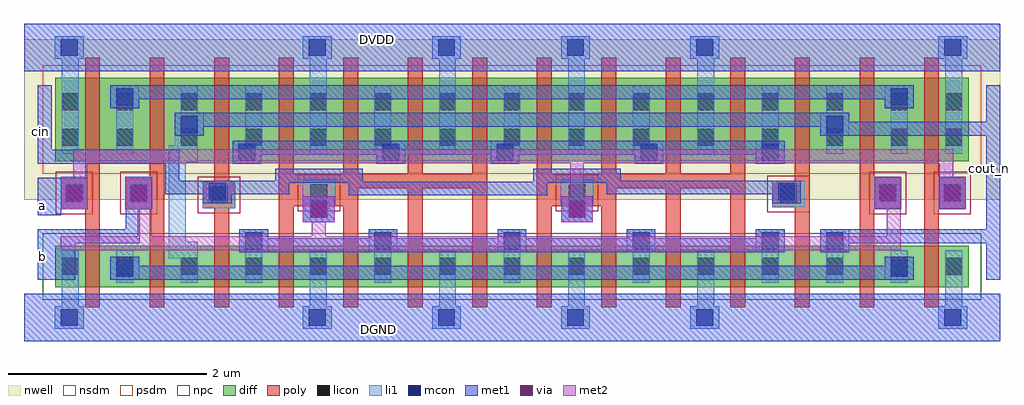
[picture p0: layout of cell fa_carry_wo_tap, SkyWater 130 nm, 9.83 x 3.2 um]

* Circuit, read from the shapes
.subckt fa_carry_wo_tap DGND DVDD a b cin cout_n
XM1 n1 a DGND VSUBS sky130_fd_pr__nfet_01v8 w=0.42 l=0.15 m=2
XM2 cout_n b n1 VSUBS sky130_fd_pr__nfet_01v8 w=0.42 l=0.15 m=2
XM3 n2 cin cout_n VSUBS sky130_fd_pr__nfet_01v8 w=0.42 l=0.15 m=2
XM4 DGND b n2 VSUBS sky130_fd_pr__nfet_01v8 w=0.42 l=0.15 m=4
XM5 DGND a n2 VSUBS sky130_fd_pr__nfet_01v8 w=0.42 l=0.15 m=4
XM6 n3 a DVDD n4 sky130_fd_pr__pfet_01v8 w=0.84 l=0.15 m=2
XM7 cout_n b n3 n4 sky130_fd_pr__pfet_01v8 w=0.84 l=0.15 m=2
XM8 n5 cin cout_n n4 sky130_fd_pr__pfet_01v8 w=0.84 l=0.15 m=2
XM9 DVDD b n5 n4 sky130_fd_pr__pfet_01v8 w=0.84 l=0.15 m=4
XM10 DVDD a n5 n4 sky130_fd_pr__pfet_01v8 w=0.84 l=0.15 m=4
.ends

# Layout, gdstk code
from math import pi, radians
import gdstk
lib = gdstk.Library(unit=1e-6, precision=1e-09)
def R(c, l, rs):  # rectangles x0, y0, x1, y1
    for r in rs: c.add(gdstk.rectangle(r[:2], r[2:], *l))
def A(c, l, x, y, w, h, nx, ny, dx, dy):  # array of equal rectangles
    R(c, l, [(x+i*dx, y+j*dy, x+i*dx+w, y+j*dy+h) for i in range(nx) for j in range(ny)])
nwell = (64, 20)
diff = (65, 20)
poly = (66, 20)
licon = (66, 44)
li1 = (67, 20)
mcon = (67, 44)
met1 = (68, 20)
via = (68, 44)
met2 = (69, 20)
nsdm = (93, 44)
psdm = (94, 20)
npc = (95, 20)

pfet_1 = lib.new_cell('pfet$1')
R(pfet_1, nwell, [(-0.315,-0.39,9.515,1.23)])
R(pfet_1, diff, [(0,0,9.2,0.84)])
A(pfet_1, poly, 0.3, -0.2, 0.15, 1.24, 14, 1, 0.65, 0)
A(pfet_1, licon, 0.615, 0.155, 0.17, 0.17, 13, 2, 0.65, 0.36)
R(pfet_1, licon, [(0.065,0.155,0.235,0.325), (8.965,0.155,9.135,0.325), (0.065,0.515,0.235,0.685), (8.965,0.515,9.135,0.685)])
A(pfet_1, li1, 0.615, 0.075, 0.17, 0.69, 13, 1, 0.65, 0)
R(pfet_1, li1, [(0.065,0.075,0.235,0.765), (8.965,0.075,9.135,0.765)])
R(pfet_1, psdm, [(-0.125,-0.125,9.325,0.965)])

nfet_1 = lib.new_cell('nfet$1')
R(nfet_1, diff, [(0,0,9.2,0.42)])
A(nfet_1, poly, 0.3, -0.2, 0.15, 0.82, 14, 1, 0.65, 0)
A(nfet_1, licon, 0.615, 0.125, 0.17, 0.17, 13, 1, 0.65, 0)
R(nfet_1, licon, [(0.065,0.125,0.235,0.295), (8.965,0.125,9.135,0.295)])
A(nfet_1, li1, 0.615, 0.045, 0.17, 0.33, 13, 1, 0.65, 0)
R(nfet_1, li1, [(0.065,0.045,0.235,0.375), (8.965,0.045,9.135,0.375)])
R(nfet_1, nsdm, [(-0.125,-0.125,9.325,0.545)])

vias_gen_1 = lib.new_cell('vias_gen$1')
R(vias_gen_1, li1, [(0,0,0.29,0.23)])
R(vias_gen_1, mcon, [(0.06,0.03,0.23,0.2)])
R(vias_gen_1, met1, [(0,0,0.29,0.23)])

vias_gen_3 = lib.new_cell('vias_gen$3')
R(vias_gen_3, poly, [(0,0,0.33,0.27)])
R(vias_gen_3, licon, [(0.08,0.05,0.25,0.22)])
R(vias_gen_3, li1, [(0,0,0.33,0.27)])
R(vias_gen_3, npc, [(-0.05,-0.05,0.38,0.32)])

vias_gen_2 = lib.new_cell('vias_gen$2')
R(vias_gen_2, li1, [(0,0,0.29,0.23)])
R(vias_gen_2, mcon, [(0.06,0.03,0.23,0.2)])
R(vias_gen_2, met1, [(0,0,0.29,0.23)])

vias_gen_4 = lib.new_cell('vias_gen$4')
R(vias_gen_4, li1, [(0,0,0.32,0.26)])
R(vias_gen_4, mcon, [(0.075,0.045,0.245,0.215)])
R(vias_gen_4, met1, [(0,0,0.32,0.26)])
R(vias_gen_4, via, [(0.085,0.055,0.235,0.205)])
R(vias_gen_4, met2, [(0,0,0.32,0.26)])

fa_carry_wo_tap = lib.new_cell('fa_carry_wo_tap')
R(fa_carry_wo_tap, poly, [(-6,0.495,-5.91,0.675), (-5.58,0.495,-5.5,0.675), (-3.4,0.495,-3.31,0.675), (-2.98,0.495,-2.9,0.675)])
R(fa_carry_wo_tap, li1, [(-7.255,-0.03,-6.965,0.14), (-7.255,0.94,-6.965,1.11), (-7.195,1.11,-7.135,1.205)])
R(fa_carry_wo_tap, met1, [(-8.715,-0.865,1.115,-0.385), (-8.575,-0.105,-8.34,0.265), (-8.575,0.405,-8.34,0.785), (-8.715,1.855,1.115,2.335)])
fa_carry_wo_tap.add(gdstk.FlexPath([(-4.45,1.715),(-4.45,1.98)], 0.17, ends="flush", simple_path=True, layer=67, datatype=20))  # li1
fa_carry_wo_tap.add(gdstk.FlexPath([(-5.75,1.715),(-5.75,1.98)], 0.17, ends="flush", simple_path=True, layer=67, datatype=20))  # li1
fa_carry_wo_tap.add(gdstk.FlexPath([(0.65,1.715),(0.65,1.98)], 0.17, ends="flush", simple_path=True, layer=67, datatype=20))  # li1
fa_carry_wo_tap.add(gdstk.FlexPath([(-8.25,1.715),(-8.25,1.98)], 0.17, ends="flush", simple_path=True, layer=67, datatype=20))  # li1
fa_carry_wo_tap.add(gdstk.FlexPath([(-3.15,1.715),(-3.15,1.98)], 0.17, ends="flush", simple_path=True, layer=67, datatype=20))  # li1
fa_carry_wo_tap.add(gdstk.FlexPath([(-1.85,1.715),(-1.85,1.98)], 0.17, ends="flush", simple_path=True, layer=67, datatype=20))  # li1
fa_carry_wo_tap.add(gdstk.FlexPath([(-4.45,-0.275),(-4.45,-0.51)], 0.17, ends="flush", simple_path=True, layer=67, datatype=20))  # li1
fa_carry_wo_tap.add(gdstk.FlexPath([(-5.75,-0.275),(-5.75,-0.51)], 0.17, ends="flush", simple_path=True, layer=67, datatype=20))  # li1
fa_carry_wo_tap.add(gdstk.FlexPath([(0.65,-0.275),(0.65,-0.51)], 0.17, ends="flush", simple_path=True, layer=67, datatype=20))  # li1
fa_carry_wo_tap.add(gdstk.FlexPath([(-8.25,-0.275),(-8.25,-0.51)], 0.17, ends="flush", simple_path=True, layer=67, datatype=20))  # li1
fa_carry_wo_tap.add(gdstk.FlexPath([(-3.15,-0.275),(-3.15,-0.51)], 0.17, ends="flush", simple_path=True, layer=67, datatype=20))  # li1
fa_carry_wo_tap.add(gdstk.FlexPath([(-1.85,-0.275),(-1.85,-0.51)], 0.17, ends="flush", simple_path=True, layer=67, datatype=20))  # li1
fa_carry_wo_tap.add(gdstk.FlexPath([(-7.17,0.055),(-7.17,1.025)], 0.17, ends="flush", simple_path=True, layer=67, datatype=20))  # li1
fa_carry_wo_tap.add(gdstk.FlexPath([(-1.18,0.685),(-2.775,0.685),(-2.775,0.805),(-3.515,0.805),(-3.515,0.675),(-5.375,0.675),(-5.375,0.805),(-6.115,0.805),(-6.115,0.685),(-6.625,0.685)], 0.14, ends="flush", simple_path=True, layer=68, datatype=20))  # met1
fa_carry_wo_tap.add(gdstk.FlexPath([(-6.915,0.685),(-7.22,0.685),(-7.22,0.995),(-8.505,0.995),(-8.505,1.715)], 0.14, ends="flush", simple_path=True, layer=68, datatype=20))  # met1
fa_carry_wo_tap.add(gdstk.FlexPath([(-7.62,0.465),(-7.62,0.195),(-8.27,0.195),(-8.27,-0.175),(-8.575,-0.175)], 0.14, ends="flush", simple_path=True, layer=68, datatype=20))  # met1
fa_carry_wo_tap.add(gdstk.FlexPath([(-1.345,1.085),(-6.325,1.085)], 0.14, ends="flush", simple_path=True, layer=68, datatype=20))  # met1
fa_carry_wo_tap.add(gdstk.FlexPath([(-0.045,1.645),(-7.555,1.645)], 0.14, ends="flush", simple_path=True, layer=68, datatype=20))  # met1
fa_carry_wo_tap.add(gdstk.FlexPath([(-0.695,1.365),(-6.905,1.365)], 0.14, ends="flush", simple_path=True, layer=68, datatype=20))  # met1
fa_carry_wo_tap.add(gdstk.FlexPath([(-0.045,-0.175),(-7.555,-0.175)], 0.14, ends="flush", simple_path=True, layer=68, datatype=20))  # met1
fa_carry_wo_tap.add(gdstk.FlexPath([(-1.345,0.105),(-6.255,0.105)], 0.14, ends="flush", simple_path=True, layer=68, datatype=20))  # met1
fa_carry_wo_tap.add(gdstk.FlexPath([(-0.405,0.195),(1.045,0.195),(1.045,1.715)], 0.14, ends="flush", simple_path=True, layer=68, datatype=20))  # met1
fa_carry_wo_tap.add(gdstk.FlexPath([(1.045,0.125),(1.045,-0.245)], 0.14, ends="flush", simple_path=True, layer=68, datatype=20))  # met1
fa_carry_wo_tap.add(gdstk.FlexPath([(-0.405,1.275),(0.975,1.275)], 0.14, ends="flush", simple_path=True, layer=68, datatype=20))  # met1
fa_carry_wo_tap.add(gdstk.FlexPath([(-8.22,1),(0.645,1)], 0.14, ends="flush", simple_path=True, layer=69, datatype=20))  # met2
fa_carry_wo_tap.add(gdstk.FlexPath([(-8.345,0.125),(0.115,0.125)], 0.14, ends="flush", simple_path=True, layer=69, datatype=20))  # met2
fa_carry_wo_tap.add(gdstk.FlexPath([(-8.15,0.785),(-8.15,0.93)], 0.14, ends="flush", simple_path=True, layer=69, datatype=20))  # met2
fa_carry_wo_tap.add(gdstk.FlexPath([(-3.145,0.595),(-3.145,0.93)], 0.14, ends="flush", simple_path=True, layer=69, datatype=20))  # met2
fa_carry_wo_tap.add(gdstk.FlexPath([(0.575,0.79),(0.575,0.93)], 0.14, ends="flush", simple_path=True, layer=69, datatype=20))  # met2
fa_carry_wo_tap.add(gdstk.FlexPath([(-7.5,0.465),(-7.5,0.195)], 0.14, ends="flush", simple_path=True, layer=69, datatype=20))  # met2
fa_carry_wo_tap.add(gdstk.FlexPath([(-5.745,0.335),(-5.745,0.195)], 0.14, ends="flush", simple_path=True, layer=69, datatype=20))  # met2
fa_carry_wo_tap.add(gdstk.FlexPath([(0.045,0.47),(0.045,0.195)], 0.14, ends="flush", simple_path=True, layer=69, datatype=20))  # met2
fa_carry_wo_tap.add(gdstk.FlexPath([(-6,0.75),(-4.2,0.75)], 0.15, ends="flush", simple_path=True, layer=66, datatype=20))  # poly
fa_carry_wo_tap.add(gdstk.FlexPath([(-3.4,0.75),(-1.6,0.75)], 0.15, ends="flush", simple_path=True, layer=66, datatype=20))  # poly
fa_carry_wo_tap.add(gdstk.FlexPath([(0.425,0.75),(0.425,0.3)], 0.15, ends="flush", simple_path=True, layer=66, datatype=20))  # poly
fa_carry_wo_tap.add(gdstk.FlexPath([(-0.225,0.75),(-0.225,0.3)], 0.15, ends="flush", simple_path=True, layer=66, datatype=20))  # poly
fa_carry_wo_tap.add(gdstk.FlexPath([(-0.875,0.75),(-0.875,0.3)], 0.15, ends="flush", simple_path=True, layer=66, datatype=20))  # poly
fa_carry_wo_tap.add(gdstk.FlexPath([(-1.525,0.75),(-1.525,0.3)], 0.15, ends="flush", simple_path=True, layer=66, datatype=20))  # poly
fa_carry_wo_tap.add(gdstk.FlexPath([(-2.175,0.75),(-2.175,0.3)], 0.15, ends="flush", simple_path=True, layer=66, datatype=20))  # poly
fa_carry_wo_tap.add(gdstk.FlexPath([(-2.825,0.75),(-2.825,0.3)], 0.15, ends="flush", simple_path=True, layer=66, datatype=20))  # poly
fa_carry_wo_tap.add(gdstk.FlexPath([(-3.475,0.75),(-3.475,0.3)], 0.15, ends="flush", simple_path=True, layer=66, datatype=20))  # poly
fa_carry_wo_tap.add(gdstk.FlexPath([(-4.125,0.75),(-4.125,0.3)], 0.15, ends="flush", simple_path=True, layer=66, datatype=20))  # poly
fa_carry_wo_tap.add(gdstk.FlexPath([(-4.775,0.75),(-4.775,0.3)], 0.15, ends="flush", simple_path=True, layer=66, datatype=20))  # poly
fa_carry_wo_tap.add(gdstk.FlexPath([(-5.425,0.75),(-5.425,0.3)], 0.15, ends="flush", simple_path=True, layer=66, datatype=20))  # poly
fa_carry_wo_tap.add(gdstk.FlexPath([(-6.075,0.75),(-6.075,0.3)], 0.15, ends="flush", simple_path=True, layer=66, datatype=20))  # poly
fa_carry_wo_tap.add(gdstk.FlexPath([(-6.725,0.75),(-6.725,0.3)], 0.15, ends="flush", simple_path=True, layer=66, datatype=20))  # poly
fa_carry_wo_tap.add(gdstk.FlexPath([(-7.375,0.75),(-7.375,0.3)], 0.15, ends="flush", simple_path=True, layer=66, datatype=20))  # poly
fa_carry_wo_tap.add(gdstk.FlexPath([(-8.025,0.75),(-8.025,0.3)], 0.15, ends="flush", simple_path=True, layer=66, datatype=20))  # poly
fa_carry_wo_tap.add(gdstk.FlexPath([(-8.025,0.75),(-8.025,0.3)], 0.15, ends="flush", simple_path=True, layer=66, datatype=20))  # poly
fa_carry_wo_tap.add(gdstk.Reference(pfet_1, (-8.4,0.95)))
fa_carry_wo_tap.add(gdstk.Reference(nfet_1, (-8.4,-0.32)))
fa_carry_wo_tap.add(gdstk.Reference(vias_gen_1, (-0.045,1.485)))
fa_carry_wo_tap.add(gdstk.Reference(vias_gen_1, (-7.845,1.485)))
fa_carry_wo_tap.add(gdstk.Reference(vias_gen_1, (-0.695,1.205)))
fa_carry_wo_tap.add(gdstk.Reference(vias_gen_1, (-7.195,1.205)))
fa_carry_wo_tap.add(gdstk.Reference(vias_gen_1, (-5.165,0.925)))
fa_carry_wo_tap.add(gdstk.Reference(vias_gen_1, (-4.015,0.925)))
fa_carry_wo_tap.add(gdstk.Reference(vias_gen_1, (-2.565,0.925)))
fa_carry_wo_tap.add(gdstk.Reference(vias_gen_1, (-1.345,0.925)))
fa_carry_wo_tap.add(gdstk.Reference(vias_gen_1, (-0.045,-0.245)))
fa_carry_wo_tap.add(gdstk.Reference(vias_gen_1, (-7.845,-0.245)))
fa_carry_wo_tap.add(gdstk.Reference(vias_gen_1, (-1.345,0.035)))
fa_carry_wo_tap.add(gdstk.Reference(vias_gen_1, (-5.245,0.035)))
fa_carry_wo_tap.add(gdstk.Reference(vias_gen_1, (-3.945,0.035)))
fa_carry_wo_tap.add(gdstk.Reference(vias_gen_1, (-2.645,0.035)))
fa_carry_wo_tap.add(gdstk.Reference(vias_gen_1, (-0.695,0.035)))
fa_carry_wo_tap.add(gdstk.Reference(vias_gen_3, (0.12,0.465), rotation=pi/2))
fa_carry_wo_tap.add(gdstk.Reference(vias_gen_3, (0.77,0.465), rotation=pi/2))
fa_carry_wo_tap.add(gdstk.Reference(vias_gen_3, (-1.18,0.485)))
fa_carry_wo_tap.add(gdstk.Reference(vias_gen_3, (-3.31,0.495)))
fa_carry_wo_tap.add(gdstk.Reference(vias_gen_3, (-5.91,0.495)))
fa_carry_wo_tap.add(gdstk.Reference(vias_gen_2, (-1.18,0.525)))
fa_carry_wo_tap.add(gdstk.Reference(vias_gen_3, (-8.075,0.465), rotation=pi/2))
fa_carry_wo_tap.add(gdstk.Reference(vias_gen_2, (-6.915,0.525)))
fa_carry_wo_tap.add(gdstk.Reference(vias_gen_3, (-6.915,0.475)))
fa_carry_wo_tap.add(gdstk.Reference(vias_gen_3, (-7.425,0.465), rotation=pi/2))
fa_carry_wo_tap.add(gdstk.Reference(vias_gen_1, (-6.545,0.035)))
fa_carry_wo_tap.add(gdstk.Reference(vias_gen_4, (-8.08,0.465), rotation=pi/2))
fa_carry_wo_tap.add(gdstk.Reference(vias_gen_4, (-7.43,0.465), rotation=pi/2))
fa_carry_wo_tap.add(gdstk.Reference(vias_gen_4, (-5.905,0.335)))
fa_carry_wo_tap.add(gdstk.Reference(vias_gen_1, (-6.615,0.925)))
fa_carry_wo_tap.add(gdstk.Reference(vias_gen_4, (-3.305,0.335)))
fa_carry_wo_tap.add(gdstk.Reference(vias_gen_4, (0.115,0.47), rotation=pi/2))
fa_carry_wo_tap.add(gdstk.Reference(vias_gen_4, (0.765,0.47), rotation=pi/2))
fa_carry_wo_tap.add(gdstk.Reference(vias_gen_2, (-2.005,1.98)))
fa_carry_wo_tap.add(gdstk.Reference(vias_gen_2, (-3.305,1.98)))
fa_carry_wo_tap.add(gdstk.Reference(vias_gen_2, (-8.405,1.98)))
fa_carry_wo_tap.add(gdstk.Reference(vias_gen_2, (0.495,1.98)))
fa_carry_wo_tap.add(gdstk.Reference(vias_gen_2, (-5.905,1.98)))
fa_carry_wo_tap.add(gdstk.Reference(vias_gen_2, (-4.605,1.98)))
fa_carry_wo_tap.add(gdstk.Reference(vias_gen_2, (-2.005,-0.51), x_reflection=True))
fa_carry_wo_tap.add(gdstk.Reference(vias_gen_2, (-3.305,-0.51), x_reflection=True))
fa_carry_wo_tap.add(gdstk.Reference(vias_gen_2, (-8.405,-0.51), x_reflection=True))
fa_carry_wo_tap.add(gdstk.Reference(vias_gen_2, (0.495,-0.51), x_reflection=True))
fa_carry_wo_tap.add(gdstk.Reference(vias_gen_2, (-5.905,-0.51), x_reflection=True))
fa_carry_wo_tap.add(gdstk.Reference(vias_gen_2, (-4.605,-0.51), x_reflection=True))
fa_carry_wo_tap.add(gdstk.Label('cin', (-8.55,1.25), layer=68, texttype=5))
fa_carry_wo_tap.add(gdstk.Label('a', (-8.525,0.5), layer=68, texttype=5))
fa_carry_wo_tap.add(gdstk.Label('b', (-8.525,-0.015), layer=68, texttype=5))
fa_carry_wo_tap.add(gdstk.Label('cout_n', (1.01,0.88), layer=68, texttype=5))
fa_carry_wo_tap.add(gdstk.Label('DVDD', (-5.15,2.18), layer=68, texttype=5))
fa_carry_wo_tap.add(gdstk.Label('DGND', (-5.14,-0.745), layer=68, texttype=5))

lib.write_gds('fa_carry_wo_tap.gds')
